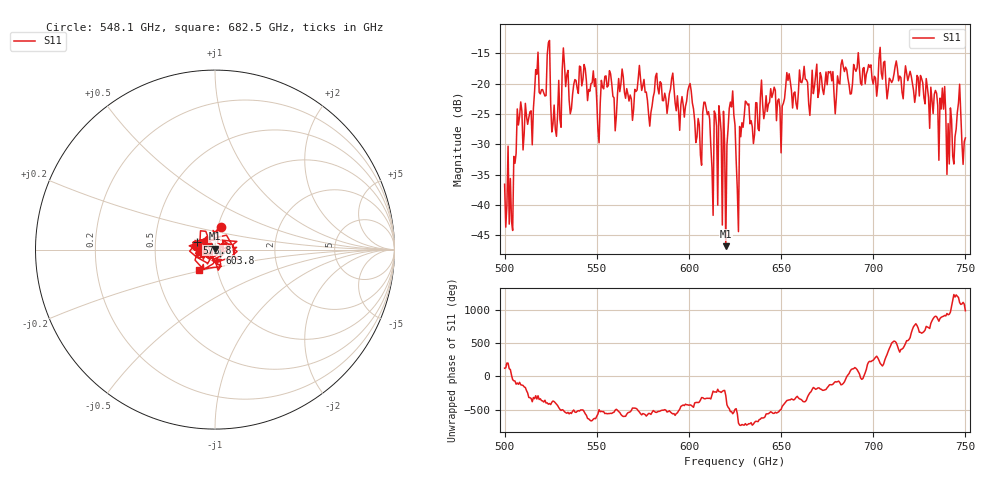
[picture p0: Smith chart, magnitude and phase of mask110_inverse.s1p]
!Created with skrf (http://scikit-rf.org).
# GHz S MA R 50.0
!freq magS11 angS11
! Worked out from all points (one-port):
!   401 points, 500 GHz to 750 GHz, reference 50 ohm
!   lowest |S11| = -46.8 dB at 620 GHz (marker M1), VSWR 1.01, Z = 50.1 + j0.437 ohm
!   |S11| at or under -10 dB: start of sweep to end of sweep
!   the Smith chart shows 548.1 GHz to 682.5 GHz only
!   S11 on the Smith chart (normalised r, x): 548.1 GHz: 1.03, +0.26; 573.8 GHz: 0.81, +0.07; 603.8 GHz: 1.05, -0.04; 682.5 GHz: 0.82, -0.19
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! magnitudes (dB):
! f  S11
! 500 GHz  -36.6
! 503.8 GHz  -42.7
! 508.1 GHz  -25.4
! 513.8 GHz  -24.6
! 517.5 GHz  -18.4
! 523.8 GHz  -13.2
! 526.9 GHz  -23.5
! 531.2 GHz  -17.8
! 548.1 GHz  -17.9
! 551.2 GHz  -29.7
! 562.5 GHz  -21.3
! 573.8 GHz  -19.2
! 593.8 GHz  -22.0
! 600.6 GHz  -20.0
! 603.8 GHz  -29.7
! 609.4 GHz  -24.0
! 611.9 GHz  -30.2
! 620 GHz  -46.8
! 623.1 GHz  -23.8
! 625 GHz  -26.8
! 626.9 GHz  -44.4
! 631.2 GHz  -23.1
! 656.2 GHz  -24.0
! 682.5 GHz  -16.9
! 687.5 GHz  -21.7
! 718.8 GHz  -19.5
! 746.2 GHz  -23.2
! 750 GHz  -28.9
